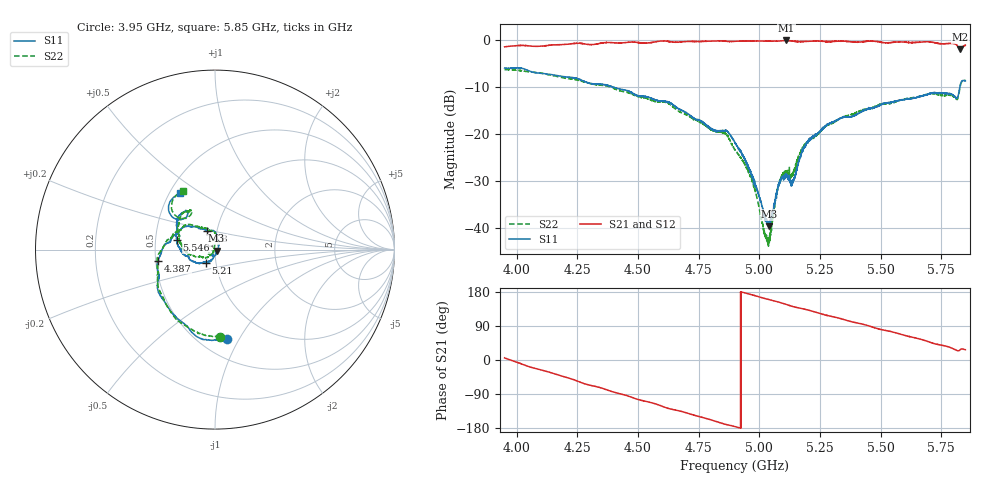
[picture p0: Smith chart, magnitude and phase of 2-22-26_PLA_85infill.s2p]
# GHZ S RI R 50.000000000000
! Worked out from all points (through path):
!   4501 points, 3.95 GHz to 5.85 GHz, reference 50 ohm
!   highest |S21| = -0.10 dB at 5.112 GHz (marker M1); lowest = -2.0 dB at 5.828 GHz (marker M2)
!   group delay of S21, straight-line fit = 496 ps
!   lowest |S11| = -39.6 dB at 5.04 GHz (marker M3), VSWR 1.02, Z = 50.9 - j0.612 ohm
!   |S11| at or under -10 dB: 4.398 GHz to 5.827 GHz (1.429 GHz wide, 27.9 % of centre)
!   |S22| runs from -43.8 to -6.3 dB; largest |S21 - S12| = 0.031
!   S11 on the Smith chart (normalised r, x): 3.95 GHz: 0.67, -0.89; 4.387 GHz: 0.51, -0.07; 4.8 GHz: 0.89, +0.19; 5.21 GHz: 0.89, -0.14; 5.546 GHz: 0.65, +0.07; 5.85 GHz: 0.57, +0.41
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3.95  0.0677 -0.4983  0.8437 0.083  0.8322 0.0791  0.0268 -0.4859
4.039933  -0.1243 -0.4662  0.841 -0.2296  0.8558 -0.2145  -0.1332 -0.4432
4.267089  -0.3194 -0.1942  0.4614 -0.794  0.4739 -0.798  -0.3196 -0.1767
4.386578  -0.318 -0.0612  0.1285 -0.9301  0.1458 -0.916  -0.3152 -0.029
4.583756  -0.2072 0.0909  -0.4587 -0.8508  -0.4391 -0.8558  -0.1902 0.1117
4.799933  -0.0454 0.1055  -0.9015 -0.3664  -0.8946 -0.3759  -0.0319 0.1072
4.9  0.00768 0.0807  -0.966 -0.0717  -0.9651 -0.0799  0.00119 0.0677
4.966289  0.0193 0.0329  -0.9672 0.1255  -0.9636 0.1125  -0.00197 0.0336
5.024133  0.0119 -0.00159  -0.931 0.3006  -0.9282 0.2839  -0.00648 0.00503
5.040178  0.00863 -0.00601  -0.9108 0.3445  -0.9121 0.329  -0.00814 -0.000815
5.079022  0.00466 -0.0284  -0.8689 0.4444  -0.8725 0.4259  -0.0172 -0.0233
5.111956  -0.0176 -0.0327  -0.8247 0.5451  -0.836 0.5288  -0.0344 -0.0207
5.138978  -0.00978 -0.0288  -0.7558 0.6141  -0.7653 0.6083  -0.0266 -0.0249
5.210333  -0.051 -0.0758  -0.6275 0.7418  -0.634 0.7349  -0.0771 -0.0401
5.217089  -0.0578 -0.0723  -0.6128 0.7563  -0.6197 0.7414  -0.0812 -0.0384
5.354733  -0.1451 -0.0477  -0.2617 0.933  -0.2656 0.9322  -0.154 -0.0179
5.533756  -0.2122 0.0465  0.2218 0.9074  0.2107 0.913  -0.1986 0.0754
5.546  -0.2128 0.0542  0.2496 0.9085  0.2374 0.9088  -0.1991 0.0796
5.713622  -0.2049 0.1816  0.6709 0.6684  0.6602 0.6773  -0.1802 0.2038
5.812  -0.1567 0.1844  0.8016 0.3924  0.793 0.4049  -0.135 0.1935
5.828044  -0.2544 0.2042  0.7113 0.361  0.7066 0.3727  -0.2369 0.211
5.85  -0.1957 0.3127  0.7833 0.3997  0.7749 0.4101  -0.1785 0.3259
